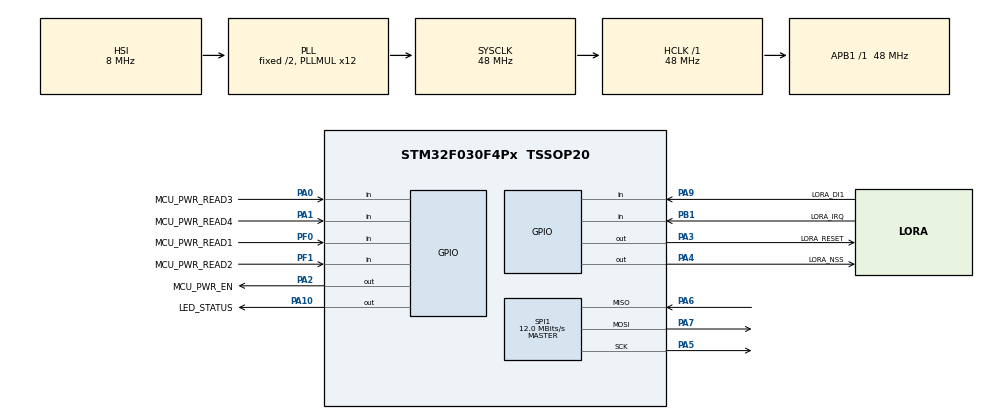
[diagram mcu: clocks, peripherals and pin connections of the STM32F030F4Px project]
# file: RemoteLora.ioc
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Mcu.Family=STM32F0
Mcu.Name=STM32F030F4Px
Mcu.Package=TSSOP20
PA0.GPIO_Label=MCU_PWR_READ3
PA0.GPIO_PuPd=GPIO_NOPULL
PA0.Signal=GPIO_Input
PA1.GPIO_Label=MCU_PWR_READ4
PA1.GPIO_PuPd=GPIO_NOPULL
PA1.Signal=GPIO_Input
PA10.GPIO_Label=LED_STATUS
PA10.Signal=GPIO_Output
PA13.Mode=Serial_Wire
PA13.Signal=SYS_SWDIO
PA14.Mode=Serial_Wire
PA14.Signal=SYS_SWCLK
PA2.GPIO_Label=MCU_PWR_EN
PA2.Signal=GPIO_Output
PA3.GPIO_Label=LORA_RESET
PA3.GPIO_Speed=GPIO_SPEED_FREQ_HIGH
PA3.Signal=GPIO_Output
PA4.GPIO_Label=LORA_NSS
PA4.GPIO_Speed=GPIO_SPEED_FREQ_HIGH
PA4.Signal=GPIO_Output
PA5.Mode=Full_Duplex_Master
PA5.Signal=SPI1_SCK
PA6.Mode=Full_Duplex_Master
PA6.Signal=SPI1_MISO
PA7.Mode=Full_Duplex_Master
PA7.Signal=SPI1_MOSI
PA9.GPIO_Label=LORA_DI1
PA9.GPIO_PuPd=GPIO_PULLUP
PA9.Signal=GPIO_Input
PB1.GPIO_Label=LORA_IRQ
PB1.GPIO_PuPd=GPIO_PULLUP
PB1.Signal=GPIO_Input
PF0-OSC_IN.GPIO_Label=MCU_PWR_READ1
PF0-OSC_IN.GPIO_PuPd=GPIO_NOPULL
PF0-OSC_IN.Signal=GPIO_Input
PF1-OSC_OUT.GPIO_Label=MCU_PWR_READ2
PF1-OSC_OUT.GPIO_PuPd=GPIO_NOPULL
PF1-OSC_OUT.Signal=GPIO_Input
ProjectManager.HeapSize=0x200
ProjectManager.StackSize=0x400
ProjectManager.TargetToolchain=STM32CubeIDE
RCC.AHBFreq_Value=48000000
RCC.APB1Freq_Value=48000000
RCC.APB1TimFreq_Value=48000000
RCC.HCLKFreq_Value=48000000
RCC.PLLMUL=RCC_PLL_MUL12
RCC.SYSCLKFreq_VALUE=48000000
RCC.SYSCLKSource=RCC_SYSCLKSOURCE_PLLCLK
SPI1.BaudRatePrescaler=SPI_BAUDRATEPRESCALER_4
SPI1.CalculateBaudRate=12.0 MBits/s
SPI1.DataSize=SPI_DATASIZE_8BIT
SPI1.Direction=SPI_DIRECTION_2LINES
SPI1.Mode=SPI_MODE_MASTER
SPI1.VirtualType=VM_MASTER
board=custom

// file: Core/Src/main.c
/* USER CODE BEGIN Header */
/**
  ******************************************************************************
  * @file           : main.c
  * @brief          : Main program body
  ******************************************************************************
  * @attention
  *
  * Copyright (c) 2024 STMicroelectronics.
  * All rights reserved.
  *
  * This software is licensed under terms that can be found in the LICENSE file
  * in the root directory of this software component.
  * If no LICENSE file comes with this software, it is provided AS-IS.
  *
  ******************************************************************************
  */
/* USER CODE END Header */
#include "main.h"

/* USER CODE BEGIN Includes */
#include "stdio.h"
#include "LoRa.h"
/* USER CODE END Includes */

SPI_HandleTypeDef hspi1;

void SystemClock_Config(void);
static void MX_GPIO_Init(void);
static void MX_SPI1_Init(void);

/* USER CODE BEGIN 0 */
#define MAX_DATA 128
uint8_t read_data[MAX_DATA];
uint8_t send_data[MAX_DATA];
#define METER_TYPE "S1"
#define METER_VERSION 01
uint32_t SerialNumber = 12345678;
uint8_t LuuLuong1 = 11,LuuLuong2 = 22,LuuLuong3 = 33,DungLuongPin = 78,NhietDoMoiTruong = 99,Loi=88;
int32_t adc0_value_count = 0,adc1_value_count = 0,adc2_value_count = 0,water_count=0;

LoRa myLoRa;
uint8_t read_data[MAX_DATA];
uint8_t send_data[MAX_DATA];
int			RSSI;
uint16_t data_length = 0, data_ok = 0;
uint16_t blink_led=0,count_send_ping=0,flag_sendping=0;
uint8_t IO1_state=0,IO2_state=0;
uint16_t adc[3];
void reset_lora_ble(void)
{
	//khoi tao lora
	myLoRa = newLoRa();

	myLoRa.hSPIx                 = &hspi1;
	myLoRa.CS_port               = LORA_NSS_GPIO_Port;
	myLoRa.CS_pin                = LORA_NSS_Pin;
	myLoRa.reset_port            = LORA_RESET_GPIO_Port;
	myLoRa.reset_pin             = LORA_RESET_Pin;
	myLoRa.DIO0_port						 = LORA_IRQ_GPIO_Port;
	myLoRa.DIO0_pin							 = LORA_IRQ_Pin;

	myLoRa.frequency             = 433;							  // default = 433 MHz
	myLoRa.spredingFactor        = SF_7;							// default = SF_7
	myLoRa.bandWidth			       = BW_125KHz;				  // default = BW_125KHz
	myLoRa.crcRate				       = CR_4_5;						// default = CR_4_5
	myLoRa.power					       = POWER_20db;				// default = 20db
	myLoRa.overCurrentProtection = 120; 							// default = 100 mA
	myLoRa.preamble				       = 10;		  					// default = 8;

	LoRa_reset(&myLoRa);
	if(LoRa_init(&myLoRa) == LORA_OK)
	{
		HAL_GPIO_WritePin(LED_STATUS_GPIO_Port, LED_STATUS_Pin, GPIO_PIN_RESET);
	}
	else
	{
		while(1)
		{
			  HAL_GPIO_TogglePin(LED_STATUS_GPIO_Port, LED_STATUS_Pin);
			  HAL_Delay(10);
		}
	}
//	LoRa_startReceiving(&myLoRa);
//	HAL_Delay(1000);
}
uint8_t addCRC(uint8_t *data, uint16_t length)
{

	uint16_t len = length;
	uint16_t i=0;
	uint8_t checksum = 0;
	for(i=0;i<len;i++)
	{
		checksum+=(~(data[i])+1);
	}
	return checksum;

}
uint8_t check_crc(uint8_t *data, uint16_t length)
{
	uint16_t crc_temp,crcok = 0;
	crcok += (data[length-3] - '0')*100;
	crcok += (data[length-2] - '0')*10;
	crcok += (data[length-1] - '0');

	crc_temp = addCRC(data,length-3);

	if(crcok == crc_temp)
	{
		return 1;
	}
	else
	{
		return 0;
	}
}
/* USER CODE END 0 */

int main(void)
{
  /* USER CODE BEGIN 1 */
	uint32_t stick_1s = 0,flag_sw1 = 0,flag_sw2 = 0,flag_sw3 = 0,flag_sw4 = 0;
  /* USER CODE END 1 */

  /* MCU Configuration--------------------------------------------------------*/

  /* Reset of all peripherals, Initializes the Flash interface and the Systick. */
  HAL_Init();

  /* Configure the system clock */
  SystemClock_Config();

  /* Initialize all configured peripherals */
  MX_GPIO_Init();
  MX_SPI1_Init();
  /* USER CODE BEGIN 2 */

  if(HAL_GPIO_ReadPin(MCU_PWR_READ1_GPIO_Port, MCU_PWR_READ1_Pin) == GPIO_PIN_SET)
  {
	  HAL_GPIO_WritePin(MCU_PWR_EN_GPIO_Port, MCU_PWR_EN_Pin, GPIO_PIN_SET);
	  flag_sw1 = 1;
  }
  else if(HAL_GPIO_ReadPin(MCU_PWR_READ2_GPIO_Port, MCU_PWR_READ2_Pin) == GPIO_PIN_SET)
  {
	  HAL_GPIO_WritePin(MCU_PWR_EN_GPIO_Port, MCU_PWR_EN_Pin, GPIO_PIN_SET);
	  flag_sw2 = 1;
  }
  else if(HAL_GPIO_ReadPin(MCU_PWR_READ3_GPIO_Port, MCU_PWR_READ3_Pin) == GPIO_PIN_SET)
  {
	  HAL_GPIO_WritePin(MCU_PWR_EN_GPIO_Port, MCU_PWR_EN_Pin, GPIO_PIN_SET);
	  flag_sw3 = 1;
  }
  else if(HAL_GPIO_ReadPin(MCU_PWR_READ4_GPIO_Port, MCU_PWR_READ4_Pin) == GPIO_PIN_SET)
  {
	  HAL_GPIO_WritePin(MCU_PWR_EN_GPIO_Port, MCU_PWR_EN_Pin, GPIO_PIN_SET);
	  flag_sw4 = 1;
  }
  else
  {
	  HAL_GPIO_WritePin(MCU_PWR_EN_GPIO_Port, MCU_PWR_EN_Pin, GPIO_PIN_RESET);
  }
  reset_lora_ble();
  /* USER CODE END 2 */

  /* Infinite loop */
  while (1)
  {

    /* USER CODE BEGIN 3 */
//	  if(HAL_GPIO_ReadPin(MCU_PWR_READ1_GPIO_Port, MCU_PWR_READ1_Pin) == GPIO_PIN_SET)
//	  {
//		  HAL_GPIO_WritePin(LED_STATUS_GPIO_Port, LED_STATUS_Pin, GPIO_PIN_SET);
//	  }
//	  else
//	  {
//		  HAL_GPIO_WritePin(LED_STATUS_GPIO_Port, LED_STATUS_Pin, GPIO_PIN_RESET);
//	  }
	  if(HAL_GPIO_ReadPin(myLoRa.DIO0_port, myLoRa.DIO0_pin) == GPIO_PIN_SET)
	  {
		  HAL_GPIO_TogglePin(LED_STATUS_GPIO_Port, LED_STATUS_Pin);//nhay led status
		  data_length = LoRa_receive(&myLoRa, read_data, MAX_DATA);
		  RSSI = LoRa_getRSSI(&myLoRa);

//		  send_data[0] = 'V';
//		  send_data[1]= 'A';
//		  send_data[2]= 'N';
//		  send_data[3]= ' ';
//		  LoRa_transmit(&myLoRa, send_data, 4, 500);
//		  stick_1s = HAL_GetTick();
	  }
//	  if(HAL_GetTick() - stick_1s >=100)
//	  	  {
//	  		  send_data[0] = 'V';
//	  		  send_data[1]= 'I';
//	  		  send_data[2]= 'E';
//	  		  send_data[3]= 'T';
//	  		  LoRa_transmit(&myLoRa, send_data, 4, 500);
//	  		  stick_1s = HAL_GetTick();
//	  	  }
	  if(flag_sw1 == 1)
	  {
		  send_data[0] = 'V';
		  send_data[1]= 'I';
		  send_data[2]= 'E';
		  send_data[3]= '1';
		  LoRa_transmit(&myLoRa, send_data, 4, 500);
		  HAL_Delay(100);

		  HAL_GPIO_WritePin(MCU_PWR_EN_GPIO_Port, MCU_PWR_EN_Pin, GPIO_PIN_RESET);
	  }
	  else if(flag_sw2 == 1)
	  {
		  send_data[0] = 'V';
		  send_data[1]= 'I';
		  send_data[2]= 'E';
		  send_data[3]= '2';
		  LoRa_transmit(&myLoRa, send_data, 4, 500);
		  HAL_Delay(100);
		  HAL_GPIO_WritePin(MCU_PWR_EN_GPIO_Port, MCU_PWR_EN_Pin, GPIO_PIN_RESET);
	  }
	  else if(flag_sw3 == 1)
	  {
		  send_data[0] = 'V';
		  send_data[1]= 'I';
		  send_data[2]= 'E';
		  send_data[3]= '3';
		  LoRa_transmit(&myLoRa, send_data, 4, 500);
		  HAL_Delay(100);
		  HAL_GPIO_WritePin(MCU_PWR_EN_GPIO_Port, MCU_PWR_EN_Pin, GPIO_PIN_RESET);
	  }
	  else if(flag_sw4 == 1)
	  {
		  send_data[0] = 'V';
		  send_data[1]= 'I';
		  send_data[2]= 'E';
		  send_data[3]= '4';
		  LoRa_transmit(&myLoRa, send_data, 4, 500);
		  HAL_Delay(100);
		  HAL_GPIO_WritePin(MCU_PWR_EN_GPIO_Port, MCU_PWR_EN_Pin, GPIO_PIN_RESET);
	  }

  }
  /* USER CODE END 3 */
}

void SystemClock_Config(void)
{
  RCC_OscInitTypeDef RCC_OscInitStruct = {0};
  RCC_ClkInitTypeDef RCC_ClkInitStruct = {0};

  /** Initializes the RCC Oscillators according to the specified parameters
  * in the RCC_OscInitTypeDef structure.
  */
  RCC_OscInitStruct.OscillatorType = RCC_OSCILLATORTYPE_HSI;
  RCC_OscInitStruct.HSIState = RCC_HSI_ON;
  RCC_OscInitStruct.HSICalibrationValue = RCC_HSICALIBRATION_DEFAULT;
  RCC_OscInitStruct.PLL.PLLState = RCC_PLL_ON;
  RCC_OscInitStruct.PLL.PLLSource = RCC_PLLSOURCE_HSI;
  RCC_OscInitStruct.PLL.PLLMUL = RCC_PLL_MUL12;
  RCC_OscInitStruct.PLL.PREDIV = RCC_PREDIV_DIV1;
  if (HAL_RCC_OscConfig(&RCC_OscInitStruct) != HAL_OK)
  {
    Error_Handler();
  }

  /** Initializes the CPU, AHB and APB buses clocks
  */
  RCC_ClkInitStruct.ClockType = RCC_CLOCKTYPE_HCLK|RCC_CLOCKTYPE_SYSCLK
                              |RCC_CLOCKTYPE_PCLK1;
  RCC_ClkInitStruct.SYSCLKSource = RCC_SYSCLKSOURCE_PLLCLK;
  RCC_ClkInitStruct.AHBCLKDivider = RCC_SYSCLK_DIV1;
  RCC_ClkInitStruct.APB1CLKDivider = RCC_HCLK_DIV1;

  if (HAL_RCC_ClockConfig(&RCC_ClkInitStruct, FLASH_LATENCY_1) != HAL_OK)
  {
    Error_Handler();
  }
}

static void MX_SPI1_Init(void)
{

  /* SPI1 parameter configuration*/
  hspi1.Instance = SPI1;
  hspi1.Init.Mode = SPI_MODE_MASTER;
  hspi1.Init.Direction = SPI_DIRECTION_2LINES;
  hspi1.Init.DataSize = SPI_DATASIZE_8BIT;
  hspi1.Init.CLKPolarity = SPI_POLARITY_LOW;
  hspi1.Init.CLKPhase = SPI_PHASE_1EDGE;
  hspi1.Init.NSS = SPI_NSS_SOFT;
  hspi1.Init.BaudRatePrescaler = SPI_BAUDRATEPRESCALER_4;
  hspi1.Init.FirstBit = SPI_FIRSTBIT_MSB;
  hspi1.Init.TIMode = SPI_TIMODE_DISABLE;
  hspi1.Init.CRCCalculation = SPI_CRCCALCULATION_DISABLE;
  hspi1.Init.CRCPolynomial = 7;
  hspi1.Init.CRCLength = SPI_CRC_LENGTH_DATASIZE;
  hspi1.Init.NSSPMode = SPI_NSS_PULSE_ENABLE;
  if (HAL_SPI_Init(&hspi1) != HAL_OK)
  {
    Error_Handler();
  }

}

static void MX_GPIO_Init(void)
{
  GPIO_InitTypeDef GPIO_InitStruct = {0};

  /* GPIO Ports Clock Enable */
  __HAL_RCC_GPIOF_CLK_ENABLE();
  __HAL_RCC_GPIOA_CLK_ENABLE();
  __HAL_RCC_GPIOB_CLK_ENABLE();

  /*Configure GPIO pin Output Level */
  HAL_GPIO_WritePin(GPIOA, MCU_PWR_EN_Pin|LORA_RESET_Pin|LORA_NSS_Pin|LED_STATUS_Pin, GPIO_PIN_RESET);

  /*Configure GPIO pins : MCU_PWR_READ1_Pin MCU_PWR_READ2_Pin */
  GPIO_InitStruct.Pin = MCU_PWR_READ1_Pin|MCU_PWR_READ2_Pin;
  GPIO_InitStruct.Mode = GPIO_MODE_INPUT;
  GPIO_InitStruct.Pull = GPIO_NOPULL;
  HAL_GPIO_Init(GPIOF, &GPIO_InitStruct);

  /*Configure GPIO pins : MCU_PWR_READ3_Pin MCU_PWR_READ4_Pin */
  GPIO_InitStruct.Pin = MCU_PWR_READ3_Pin|MCU_PWR_READ4_Pin;
  GPIO_InitStruct.Mode = GPIO_MODE_INPUT;
  GPIO_InitStruct.Pull = GPIO_NOPULL;
  HAL_GPIO_Init(GPIOA, &GPIO_InitStruct);

  /*Configure GPIO pins : MCU_PWR_EN_Pin LED_STATUS_Pin */
  GPIO_InitStruct.Pin = MCU_PWR_EN_Pin|LED_STATUS_Pin;
  GPIO_InitStruct.Mode = GPIO_MODE_OUTPUT_PP;
  GPIO_InitStruct.Pull = GPIO_NOPULL;
  GPIO_InitStruct.Speed = GPIO_SPEED_FREQ_LOW;
  HAL_GPIO_Init(GPIOA, &GPIO_InitStruct);

  /*Configure GPIO pins : LORA_RESET_Pin LORA_NSS_Pin */
  GPIO_InitStruct.Pin = LORA_RESET_Pin|LORA_NSS_Pin;
  GPIO_InitStruct.Mode = GPIO_MODE_OUTPUT_PP;
  GPIO_InitStruct.Pull = GPIO_NOPULL;
  GPIO_InitStruct.Speed = GPIO_SPEED_FREQ_HIGH;
  HAL_GPIO_Init(GPIOA, &GPIO_InitStruct);

  /*Configure GPIO pin : LORA_IRQ_Pin */
  GPIO_InitStruct.Pin = LORA_IRQ_Pin;
  GPIO_InitStruct.Mode = GPIO_MODE_INPUT;
  GPIO_InitStruct.Pull = GPIO_PULLUP;
  HAL_GPIO_Init(LORA_IRQ_GPIO_Port, &GPIO_InitStruct);

  /*Configure GPIO pin : LORA_DI1_Pin */
  GPIO_InitStruct.Pin = LORA_DI1_Pin;
  GPIO_InitStruct.Mode = GPIO_MODE_INPUT;
  GPIO_InitStruct.Pull = GPIO_PULLUP;
  HAL_GPIO_Init(LORA_DI1_GPIO_Port, &GPIO_InitStruct);

}

void Error_Handler(void)
{
  __disable_irq();
  while (1)
  {
  }
}
